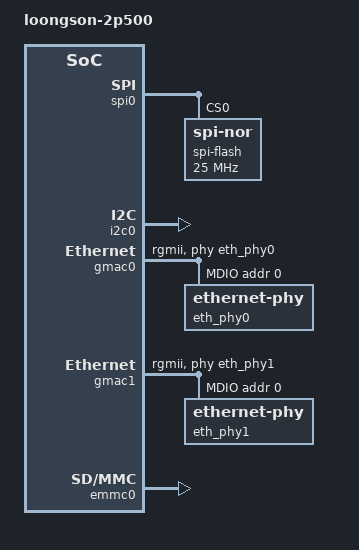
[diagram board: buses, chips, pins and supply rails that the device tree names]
#include "ls2p500.dtsi"
#include <dt-bindings/gpio/gpio.h>

/ {
	model = "loongson-2p500";

	chosen {
		stdout-path = "serial0:115200n8";
		bootargs = "earlycon";
	};

	sysinfo-smbios {
		compatible = "u-boot,sysinfo-smbios";
		u-boot,dm-pre-reloc;

		smbios {
			system {
				manufacturer = "Loongson";
				product = "LS2P500";
			};

			baseboard {
				manufacturer = "Loongson";
				product = "LS2P500-EVB";
			};

			chassis {
				manufacturer = "Loongson";
				product = "LS2P500-EVB";
			};
		};
	};

	memory {
		name = "memory";
		device_type = "memory";
		reg =  <0x90000000 0x00000000 0 0x10000000
			0x90000000 0x90000000 0 0x30000000>;
		u-boot,dm-pre-reloc;
	};

	reserved-memory {
		#address-cells = <2>;
		#size-cells = <2>;
		ranges;

		bootparam: bootparam_region {
			reg = <0x90000000 0x0f000000 0x0 0x1000000>;
			no-map;
		};
	};

	mc0: ram@0 {
		compatible = "loongson,ls2p500-ddr";
		u-boot,dm-pre-reloc;

		soc-config-reg = <0x14000100>;
		mc-disable-offs = <0>;
		mc-default-offs = <1>;

		sdram-type = "ddr3";	// ddr2/ddr3
		dimm-type = "udimm";	// rdimm/udimm/sodimm

		cs-map = <0x1>;		// bit map: 	bit0 -- cs0
					// 		bit1 -- cs1
					//		bit2 -- cs2
					//		bit3 -- cs3

		data-width = <32>;	// 16/32/64
		sdram-width = <16>;	// 8/16
		sdram-banks = <8>;	// 2/4/8
		sdram-rows = <15>;
		sdram-cols = <10>;

		clk-latency = <0x30>;
		rd-latency = <0x9>;
		wr-latency = <0x4>;
		cmd-timing-mode = <1>;	// 0: 1T mode; 1(default): 2T mode; 2: 3T mode.

		// To enable the feature below, uncomment it.
		// ecc-enable;
		/* addr-mirror; */
		/* multi-channel; */
		/* reset-revert; */
	};

};

&spi0 {
	status = "okay";

	spi-flash@0 {
		compatible = "jedec,spi-nor";
		spi-max-frequency = <25000000>; /* input clock */
		reg = <0>; /* CS0 */
	};
};

&i2c0 {
    status = "okay";

    // eeprom@57 {
    //     compatible = "atmel,24c32";
    //     reg = <0x57>;
    //     pagesize = <32>;
    // };
};


&gmac0 {
	status = "okay";
	phy-mode = "rgmii";
	phy-handle = <&eth_phy0>;

	mdio0: mdio@0 {
		#address-cells = <1>;
		#size-cells = <0>;
		compatible = "snps,dwmac-mdio";

		eth_phy0: ethernet-phy@0 {
			reg = <0>;
		};
	};
};

&gmac1 {
	status = "okay";
	phy-mode = "rgmii";
	phy-handle = <&eth_phy1>;

	mdio1: mdio@1 {
		#address-cells = <1>;
		#size-cells = <0>;
		compatible = "snps,dwmac-mdio";

		eth_phy1: ethernet-phy@0 {
			reg = <0>;
		};
	};
};

&emmc0 {
	status = "okay";
};
